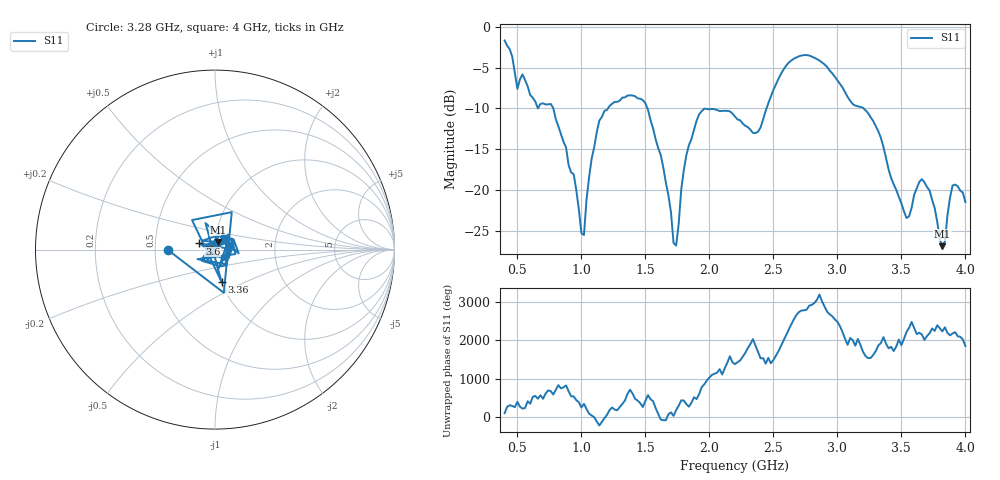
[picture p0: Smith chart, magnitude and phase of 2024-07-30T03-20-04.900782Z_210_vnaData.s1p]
!Created with skrf (http://scikit-rf.org).
# Hz S RI R 50.0
!freq ReS11 ImS11
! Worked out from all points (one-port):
!   181 points, 400 MHz to 4 GHz, reference 50 ohm
!   lowest |S11| = -26.9 dB at 3.82 GHz (marker M1), VSWR 1.09, Z = 51.5 + j4.36 ohm
!   |S11| at or under -10 dB: 780.8 MHz to 1.208 GHz (426.8 MHz wide, 42.9 % of centre); 1.516 GHz to 2.446 GHz (930.3 MHz wide, 47 % of centre); 3.205 GHz to end of sweep
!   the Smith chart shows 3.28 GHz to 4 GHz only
!   S11 on the Smith chart (normalised r, x): 3.28 GHz: 0.58, -0.00; 3.36 GHz: 1.01, -0.37; 3.6 GHz: 0.84, +0.06; 4 GHz: 1.10, +0.15
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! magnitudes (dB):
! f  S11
! 400 MHz  -1.7
! 500 MHz  -7.6
! 540 MHz  -5.8
! 760 MHz  -9.4
! 860 MHz  -14.1
! 1.02 GHz  -25.5
! 1.06 GHz  -18.5
! 1.14 GHz  -11.5
! 1.3 GHz  -9.0
! 1.5 GHz  -9.4
! 1.64 GHz  -17.3
! 1.72 GHz  -26.5
! 1.76 GHz  -24.2
! 1.82 GHz  -15.7
! 1.92 GHz  -10.7
! 2.2 GHz  -11.0
! 2.38 GHz  -12.8
! 2.66 GHz  -3.9
! 2.86 GHz  -4.1
! 3.1 GHz  -9.1
! 3.28 GHz  -11.5
! 3.36 GHz  -14.7
! 3.56 GHz  -23.2
! 3.6 GHz  -20.6
! 3.72 GHz  -20.1
! 3.82 GHz  -26.9
! 3.9 GHz  -19.5
! 4 GHz  -21.5
